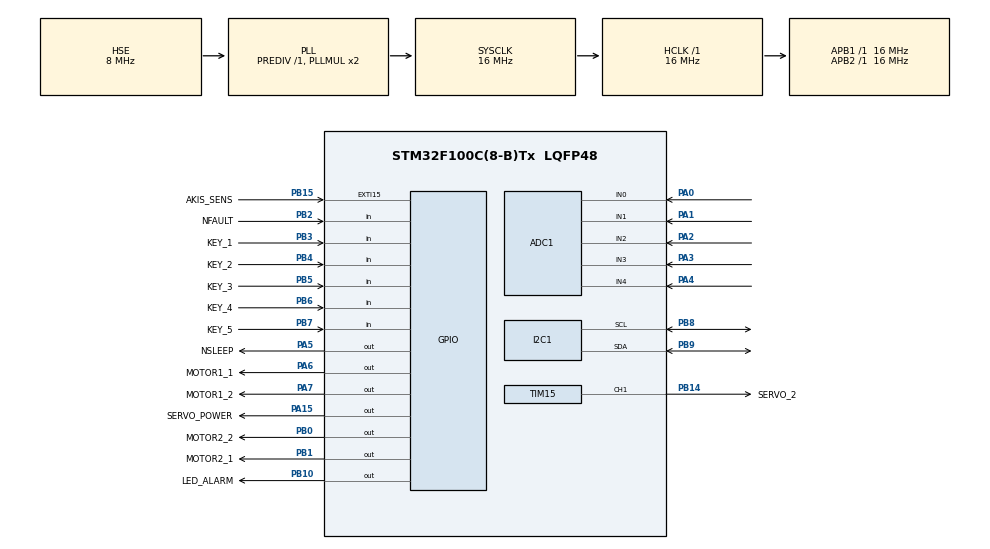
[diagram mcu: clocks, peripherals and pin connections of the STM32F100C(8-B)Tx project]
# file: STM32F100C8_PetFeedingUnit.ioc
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ADC1.Channel-0\#ChannelRegularConversion=ADC_CHANNEL_0
ADC1.Channel-1\#ChannelRegularConversion=ADC_CHANNEL_0
ADC1.Channel-2\#ChannelRegularConversion=ADC_CHANNEL_0
ADC1.Channel-3\#ChannelRegularConversion=ADC_CHANNEL_0
ADC1.Channel-4\#ChannelRegularConversion=ADC_CHANNEL_0
ADC1.NbrOfConversion=5
ADC1.NbrOfConversionFlag=1
ADC1.Rank-0\#ChannelRegularConversion=1
ADC1.Rank-1\#ChannelRegularConversion=2
ADC1.Rank-2\#ChannelRegularConversion=3
ADC1.Rank-3\#ChannelRegularConversion=4
ADC1.Rank-4\#ChannelRegularConversion=5
ADC1.SamplingTime-0\#ChannelRegularConversion=ADC_SAMPLETIME_1CYCLE_5
ADC1.SamplingTime-1\#ChannelRegularConversion=ADC_SAMPLETIME_1CYCLE_5
ADC1.SamplingTime-2\#ChannelRegularConversion=ADC_SAMPLETIME_1CYCLE_5
ADC1.SamplingTime-3\#ChannelRegularConversion=ADC_SAMPLETIME_1CYCLE_5
ADC1.SamplingTime-4\#ChannelRegularConversion=ADC_SAMPLETIME_1CYCLE_5
ADC1.master=1
Dma.ADC1.0.Direction=DMA_PERIPH_TO_MEMORY
Dma.ADC1.0.Instance=DMA1_Channel1
Dma.ADC1.0.MemDataAlignment=DMA_MDATAALIGN_HALFWORD
Dma.ADC1.0.MemInc=DMA_MINC_ENABLE
Dma.ADC1.0.Mode=DMA_NORMAL
Dma.ADC1.0.PeriphDataAlignment=DMA_PDATAALIGN_HALFWORD
Dma.ADC1.0.PeriphInc=DMA_PINC_DISABLE
Dma.ADC1.0.Priority=DMA_PRIORITY_LOW
Dma.Request0=ADC1
Mcu.Family=STM32F1
Mcu.Name=STM32F100C(8-B)Tx
Mcu.Package=LQFP48
NVIC.DMA1_Channel1_IRQn=true\:0\:0\:false\:false\:true\:false\:true
NVIC.EXTI15_10_IRQn=true\:0\:0\:false\:false\:true\:true\:true
NVIC.PriorityGroup=NVIC_PRIORITYGROUP_4
PA0-WKUP.Signal=ADCx_IN0
PA1.Signal=ADCx_IN1
PA13.Mode=Serial_Wire
PA13.Signal=SYS_JTMS-SWDIO
PA14.Mode=Serial_Wire
PA14.Signal=SYS_JTCK-SWCLK
PA15.GPIO_Label=SERVO_POWER
PA15.Signal=GPIO_Output
PA2.Signal=ADCx_IN2
PA3.Signal=ADCx_IN3
PA4.Signal=ADCx_IN4
PA5.GPIO_Label=NSLEEP
PA5.Signal=GPIO_Output
PA6.GPIO_Label=MOTOR1_1
PA6.Signal=GPIO_Output
PA7.GPIO_Label=MOTOR1_2
PA7.Signal=GPIO_Output
PB0.GPIO_Label=MOTOR2_2
PB0.Signal=GPIO_Output
PB1.GPIO_Label=MOTOR2_1
PB1.Signal=GPIO_Output
PB10.GPIO_Label=LED_ALARM
PB10.Signal=GPIO_Output
PB14.GPIO_Label=SERVO_2
PB14.Signal=S_TIM15_CH1
PB15.GPIO_Label=AKIS_SENS
PB15.GPIO_ModeDefaultEXTI=GPIO_MODE_IT_RISING
PB15.GPIO_PuPd=GPIO_PULLDOWN
PB15.Signal=GPXTI15
PB2.GPIO_Label=NFAULT
PB2.Signal=GPIO_Input
PB3.GPIO_Label=KEY_1
PB3.GPIO_PuPd=GPIO_PULLUP
PB3.Signal=GPIO_Input
PB4.GPIO_Label=KEY_2
PB4.GPIO_PuPd=GPIO_PULLUP
PB4.Signal=GPIO_Input
PB5.GPIO_Label=KEY_3
PB5.GPIO_PuPd=GPIO_PULLUP
PB5.Signal=GPIO_Input
PB6.GPIO_Label=KEY_4
PB6.GPIO_PuPd=GPIO_PULLUP
PB6.Signal=GPIO_Input
PB7.GPIO_Label=KEY_5
PB7.GPIO_PuPd=GPIO_PULLUP
PB7.Signal=GPIO_Input
PB8.Mode=I2C
PB8.Signal=I2C1_SCL
PB9.Mode=I2C
PB9.Signal=I2C1_SDA
PC14-OSC32_IN.Mode=LSE-External-Oscillator
PC14-OSC32_IN.Signal=RCC_OSC32_IN
PC15-OSC32_OUT.Mode=LSE-External-Oscillator
PC15-OSC32_OUT.Signal=RCC_OSC32_OUT
PD0-OSC_IN.Mode=HSE-External-Oscillator
PD0-OSC_IN.Signal=RCC_OSC_IN
PD1-OSC_OUT.Mode=HSE-External-Oscillator
PD1-OSC_OUT.Signal=RCC_OSC_OUT
ProjectManager.HeapSize=0x200
ProjectManager.StackSize=0x400
ProjectManager.TargetToolchain=STM32CubeIDE
RCC.AHBFreq_Value=16000000
RCC.APB1Freq_Value=16000000
RCC.APB1TimFreq_Value=16000000
RCC.APB2Freq_Value=16000000
RCC.APB2TimFreq_Value=16000000
RCC.HCLKFreq_Value=16000000
RCC.PLLSource=RCC_PLLSOURCE_HSE
RCC.RTCClockSelection=RCC_RTCCLKSOURCE_LSE
RCC.SYSCLKFreq_VALUE=16000000
RCC.SYSCLKSource=RCC_SYSCLKSOURCE_PLLCLK
RTC.Format=RTC_FORMAT_BIN
RTC.OutPut=RTC_OUTPUTSOURCE_ALARM
SH.ADCx_IN0.0=ADC1_IN0,IN0
SH.ADCx_IN1.0=ADC1_IN1,IN1
SH.ADCx_IN2.0=ADC1_IN2,IN2
SH.ADCx_IN3.0=ADC1_IN3,IN3
SH.ADCx_IN4.0=ADC1_IN4,IN4
SH.S_TIM15_CH1.0=TIM15_CH1,PWM Generation1 CH1
TIM15.Channel-PWM\ Generation1\ CH1=TIM_CHANNEL_1
TIM15.Period=935
TIM15.Prescaler=85
VP_RTC_VS_RTC_Activate.Mode=RTC_Enabled
VP_TIM15_VS_ClockSourceINT.Mode=Internal
board=custom

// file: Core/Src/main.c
/* USER CODE BEGIN Header */
/**
  ******************************************************************************
  * @file           : main.c
  * @brief          : Main program body
  ******************************************************************************
  * @attention
  *
  * <h2><center>&copy; Copyright (c) 2019 STMicroelectronics.
  * All rights reserved.</center></h2>
  *
  * This software component is licensed by ST under BSD 3-Clause license,
  * the "License"; You may not use this file except in compliance with the
  * License. You may obtain a copy of the License at:
  *                        opensource.org/licenses/BSD-3-Clause
  *
  ******************************************************************************
  */
/* USER CODE END Header */

#include "main.h"

/* USER CODE BEGIN Includes */
#include "include_Ap.h"
/* USER CODE END Includes */

ADC_HandleTypeDef hadc1;
DMA_HandleTypeDef hdma_adc1;

I2C_HandleTypeDef hi2c1;

RTC_HandleTypeDef hrtc;

TIM_HandleTypeDef htim15;

void SystemClock_Config(void);
static void MX_GPIO_Init(void);
static void MX_DMA_Init(void);
static void MX_ADC1_Init(void);
static void MX_I2C1_Init(void);
static void MX_RTC_Init(void);
static void MX_TIM15_Init(void);

/* USER CODE BEGIN 0 */
uint16_t deger[5];
uint16_t servoDeger;
uint16_t suSayaci;
/* USER CODE END 0 */

int main(void)
{

  /* MCU Configuration--------------------------------------------------------*/

  /* Reset of all peripherals, Initializes the Flash interface and the Systick. */
  HAL_Init();

  /* Configure the system clock */
  SystemClock_Config();

  /* Initialize all configured peripherals */
  MX_GPIO_Init();
  MX_DMA_Init();
  MX_ADC1_Init();
  MX_I2C1_Init();
  MX_RTC_Init();
  MX_TIM15_Init();
  /* USER CODE BEGIN 2 */
  OLED_Init();
  InitTimer7();
  Build_Menu();
  takvimGeriYukleme();
  alarmGeriYukleme();
  displaySelectKey=GIRIS_EKRANI;
  kayitOnayDurum=false;

  HAL_TIM_PWM_Start(&htim15,TIM_CHANNEL_1);

  char keyYer[8];
  sleepDurum=true;

  /* USER CODE END 2 */

  /* Infinite loop */
  /* USER CODE BEGIN WHILE */
  while (1)
  {
	  displaySelect();
	  pilGoster();
	  OLED_SetCursor(0, 0);
	  sprintf(keyYer, "%4d", deger[0]);
	  OLED_WriteString(keyYer, Font_7x10, White);
	  OLED_SetCursor(0, 10);
	  sprintf(keyYer, "%3d", suSayaci);
	  OLED_WriteString(keyYer, Font_7x10, White);
	  OLED_UpdateScreen();
	  ADC_DMA_degerOkuma();
	  alarmDeneme(T1DEGER);
//	  giveFeed();
	  fault_Durum();
	  sleepMode();

    /* USER CODE END WHILE */

  }
}

void SystemClock_Config(void)
{
  RCC_OscInitTypeDef RCC_OscInitStruct = {0};
  RCC_ClkInitTypeDef RCC_ClkInitStruct = {0};
  RCC_PeriphCLKInitTypeDef PeriphClkInit = {0};

  /** Initializes the CPU, AHB and APB busses clocks
  */
  RCC_OscInitStruct.OscillatorType = RCC_OSCILLATORTYPE_HSE|RCC_OSCILLATORTYPE_LSE;
  RCC_OscInitStruct.HSEState = RCC_HSE_ON;
  RCC_OscInitStruct.HSEPredivValue = RCC_HSE_PREDIV_DIV1;
  RCC_OscInitStruct.LSEState = RCC_LSE_ON;
  RCC_OscInitStruct.PLL.PLLState = RCC_PLL_ON;
  RCC_OscInitStruct.PLL.PLLSource = RCC_PLLSOURCE_HSE;
  RCC_OscInitStruct.PLL.PLLMUL = RCC_PLL_MUL2;
  if (HAL_RCC_OscConfig(&RCC_OscInitStruct) != HAL_OK)
  {
    Error_Handler();
  }
  /** Initializes the CPU, AHB and APB busses clocks
  */
  RCC_ClkInitStruct.ClockType = RCC_CLOCKTYPE_HCLK|RCC_CLOCKTYPE_SYSCLK
                              |RCC_CLOCKTYPE_PCLK1|RCC_CLOCKTYPE_PCLK2;
  RCC_ClkInitStruct.SYSCLKSource = RCC_SYSCLKSOURCE_PLLCLK;
  RCC_ClkInitStruct.AHBCLKDivider = RCC_SYSCLK_DIV1;
  RCC_ClkInitStruct.APB1CLKDivider = RCC_HCLK_DIV1;
  RCC_ClkInitStruct.APB2CLKDivider = RCC_HCLK_DIV1;

  if (HAL_RCC_ClockConfig(&RCC_ClkInitStruct, FLASH_LATENCY_0) != HAL_OK)
  {
    Error_Handler();
  }
  PeriphClkInit.PeriphClockSelection = RCC_PERIPHCLK_RTC|RCC_PERIPHCLK_ADC;
  PeriphClkInit.RTCClockSelection = RCC_RTCCLKSOURCE_LSE;
  PeriphClkInit.AdcClockSelection = RCC_ADCPCLK2_DIV2;
  if (HAL_RCCEx_PeriphCLKConfig(&PeriphClkInit) != HAL_OK)
  {
    Error_Handler();
  }
}

static void MX_ADC1_Init(void)
{

  ADC_ChannelConfTypeDef sConfig = {0};

  /** Common config
  */
  hadc1.Instance = ADC1;
  hadc1.Init.ScanConvMode = ADC_SCAN_ENABLE;
  hadc1.Init.ContinuousConvMode = DISABLE;
  hadc1.Init.DiscontinuousConvMode = DISABLE;
  hadc1.Init.ExternalTrigConv = ADC_SOFTWARE_START;
  hadc1.Init.DataAlign = ADC_DATAALIGN_RIGHT;
  hadc1.Init.NbrOfConversion = 5;
  if (HAL_ADC_Init(&hadc1) != HAL_OK)
  {
    Error_Handler();
  }
  /** Configure Regular Channel
  */
  sConfig.Channel = ADC_CHANNEL_0;
  sConfig.Rank = ADC_REGULAR_RANK_1;
  sConfig.SamplingTime = ADC_SAMPLETIME_1CYCLE_5;
  if (HAL_ADC_ConfigChannel(&hadc1, &sConfig) != HAL_OK)
  {
    Error_Handler();
  }
  /** Configure Regular Channel
  */
  sConfig.Rank = ADC_REGULAR_RANK_2;
  if (HAL_ADC_ConfigChannel(&hadc1, &sConfig) != HAL_OK)
  {
    Error_Handler();
  }
  /** Configure Regular Channel
  */
  sConfig.Rank = ADC_REGULAR_RANK_3;
  if (HAL_ADC_ConfigChannel(&hadc1, &sConfig) != HAL_OK)
  {
    Error_Handler();
  }
  /** Configure Regular Channel
  */
  sConfig.Rank = ADC_REGULAR_RANK_4;
  if (HAL_ADC_ConfigChannel(&hadc1, &sConfig) != HAL_OK)
  {
    Error_Handler();
  }
  /** Configure Regular Channel
  */
  sConfig.Rank = ADC_REGULAR_RANK_5;
  if (HAL_ADC_ConfigChannel(&hadc1, &sConfig) != HAL_OK)
  {
    Error_Handler();
  }

}

static void MX_I2C1_Init(void)
{

  hi2c1.Instance = I2C1;
  hi2c1.Init.ClockSpeed = 100000;
  hi2c1.Init.DutyCycle = I2C_DUTYCYCLE_2;
  hi2c1.Init.OwnAddress1 = 0;
  hi2c1.Init.AddressingMode = I2C_ADDRESSINGMODE_7BIT;
  hi2c1.Init.DualAddressMode = I2C_DUALADDRESS_DISABLE;
  hi2c1.Init.OwnAddress2 = 0;
  hi2c1.Init.GeneralCallMode = I2C_GENERALCALL_DISABLE;
  hi2c1.Init.NoStretchMode = I2C_NOSTRETCH_DISABLE;
  if (HAL_I2C_Init(&hi2c1) != HAL_OK)
  {
    Error_Handler();
  }

}

static void MX_RTC_Init(void)
{

  /** Initialize RTC Only
  */
  hrtc.Instance = RTC;
  hrtc.Init.AsynchPrediv = RTC_AUTO_1_SECOND;
  hrtc.Init.OutPut = RTC_OUTPUTSOURCE_ALARM;
  if (HAL_RTC_Init(&hrtc) != HAL_OK)
  {
    Error_Handler();
  }

}

static void MX_TIM15_Init(void)
{

  TIM_ClockConfigTypeDef sClockSourceConfig = {0};
  TIM_MasterConfigTypeDef sMasterConfig = {0};
  TIM_OC_InitTypeDef sConfigOC = {0};
  TIM_BreakDeadTimeConfigTypeDef sBreakDeadTimeConfig = {0};

  htim15.Instance = TIM15;
  htim15.Init.Prescaler = 85;
  htim15.Init.CounterMode = TIM_COUNTERMODE_UP;
  htim15.Init.Period = 935;
  htim15.Init.ClockDivision = TIM_CLOCKDIVISION_DIV1;
  htim15.Init.RepetitionCounter = 0;
  htim15.Init.AutoReloadPreload = TIM_AUTORELOAD_PRELOAD_DISABLE;
  if (HAL_TIM_Base_Init(&htim15) != HAL_OK)
  {
    Error_Handler();
  }
  sClockSourceConfig.ClockSource = TIM_CLOCKSOURCE_INTERNAL;
  if (HAL_TIM_ConfigClockSource(&htim15, &sClockSourceConfig) != HAL_OK)
  {
    Error_Handler();
  }
  if (HAL_TIM_PWM_Init(&htim15) != HAL_OK)
  {
    Error_Handler();
  }
  sMasterConfig.MasterOutputTrigger = TIM_TRGO_RESET;
  sMasterConfig.MasterSlaveMode = TIM_MASTERSLAVEMODE_DISABLE;
  if (HAL_TIMEx_MasterConfigSynchronization(&htim15, &sMasterConfig) != HAL_OK)
  {
    Error_Handler();
  }
  sConfigOC.OCMode = TIM_OCMODE_PWM1;
  sConfigOC.Pulse = 0;
  sConfigOC.OCPolarity = TIM_OCPOLARITY_HIGH;
  sConfigOC.OCNPolarity = TIM_OCNPOLARITY_HIGH;
  sConfigOC.OCFastMode = TIM_OCFAST_DISABLE;
  sConfigOC.OCIdleState = TIM_OCIDLESTATE_RESET;
  sConfigOC.OCNIdleState = TIM_OCNIDLESTATE_RESET;
  if (HAL_TIM_PWM_ConfigChannel(&htim15, &sConfigOC, TIM_CHANNEL_1) != HAL_OK)
  {
    Error_Handler();
  }
  sBreakDeadTimeConfig.OffStateRunMode = TIM_OSSR_DISABLE;
  sBreakDeadTimeConfig.OffStateIDLEMode = TIM_OSSI_DISABLE;
  sBreakDeadTimeConfig.LockLevel = TIM_LOCKLEVEL_OFF;
  sBreakDeadTimeConfig.DeadTime = 0;
  sBreakDeadTimeConfig.BreakState = TIM_BREAK_DISABLE;
  sBreakDeadTimeConfig.BreakPolarity = TIM_BREAKPOLARITY_HIGH;
  sBreakDeadTimeConfig.AutomaticOutput = TIM_AUTOMATICOUTPUT_DISABLE;
  if (HAL_TIMEx_ConfigBreakDeadTime(&htim15, &sBreakDeadTimeConfig) != HAL_OK)
  {
    Error_Handler();
  }
  HAL_TIM_MspPostInit(&htim15);

}

static void MX_DMA_Init(void)
{

  /* DMA controller clock enable */
  __HAL_RCC_DMA1_CLK_ENABLE();

  /* DMA interrupt init */
  /* DMA1_Channel1_IRQn interrupt configuration */
  HAL_NVIC_SetPriority(DMA1_Channel1_IRQn, 0, 0);
  HAL_NVIC_EnableIRQ(DMA1_Channel1_IRQn);

}

static void MX_GPIO_Init(void)
{
  GPIO_InitTypeDef GPIO_InitStruct = {0};

  /* GPIO Ports Clock Enable */
  __HAL_RCC_GPIOC_CLK_ENABLE();
  __HAL_RCC_GPIOD_CLK_ENABLE();
  __HAL_RCC_GPIOA_CLK_ENABLE();
  __HAL_RCC_GPIOB_CLK_ENABLE();

  /*Configure GPIO pin Output Level */
  HAL_GPIO_WritePin(GPIOA, NSLEEP_Pin|MOTOR1_1_Pin|MOTOR1_2_Pin|SERVO_POWER_Pin, GPIO_PIN_RESET);

  /*Configure GPIO pin Output Level */
  HAL_GPIO_WritePin(GPIOB, MOTOR2_2_Pin|MOTOR2_1_Pin|LED_ALARM_Pin, GPIO_PIN_RESET);

  /*Configure GPIO pins : NSLEEP_Pin MOTOR1_1_Pin MOTOR1_2_Pin SERVO_POWER_Pin */
  GPIO_InitStruct.Pin = NSLEEP_Pin|MOTOR1_1_Pin|MOTOR1_2_Pin|SERVO_POWER_Pin;
  GPIO_InitStruct.Mode = GPIO_MODE_OUTPUT_PP;
  GPIO_InitStruct.Pull = GPIO_NOPULL;
  GPIO_InitStruct.Speed = GPIO_SPEED_FREQ_LOW;
  HAL_GPIO_Init(GPIOA, &GPIO_InitStruct);

  /*Configure GPIO pins : MOTOR2_2_Pin MOTOR2_1_Pin LED_ALARM_Pin */
  GPIO_InitStruct.Pin = MOTOR2_2_Pin|MOTOR2_1_Pin|LED_ALARM_Pin;
  GPIO_InitStruct.Mode = GPIO_MODE_OUTPUT_PP;
  GPIO_InitStruct.Pull = GPIO_NOPULL;
  GPIO_InitStruct.Speed = GPIO_SPEED_FREQ_LOW;
  HAL_GPIO_Init(GPIOB, &GPIO_InitStruct);

  /*Configure GPIO pin : NFAULT_Pin */
  GPIO_InitStruct.Pin = NFAULT_Pin;
  GPIO_InitStruct.Mode = GPIO_MODE_INPUT;
  GPIO_InitStruct.Pull = GPIO_NOPULL;
  HAL_GPIO_Init(NFAULT_GPIO_Port, &GPIO_InitStruct);

  /*Configure GPIO pin : AKIS_SENS_Pin */
  GPIO_InitStruct.Pin = AKIS_SENS_Pin;
  GPIO_InitStruct.Mode = GPIO_MODE_IT_RISING;
  GPIO_InitStruct.Pull = GPIO_PULLDOWN;
  HAL_GPIO_Init(AKIS_SENS_GPIO_Port, &GPIO_InitStruct);

  /*Configure GPIO pins : KEY_1_Pin KEY_2_Pin KEY_3_Pin KEY_4_Pin
                           KEY_5_Pin */
  GPIO_InitStruct.Pin = KEY_1_Pin|KEY_2_Pin|KEY_3_Pin|KEY_4_Pin
                          |KEY_5_Pin;
  GPIO_InitStruct.Mode = GPIO_MODE_INPUT;
  GPIO_InitStruct.Pull = GPIO_PULLUP;
  HAL_GPIO_Init(GPIOB, &GPIO_InitStruct);

  /* EXTI interrupt init*/
  HAL_NVIC_SetPriority(EXTI15_10_IRQn, 0, 0);
  HAL_NVIC_EnableIRQ(EXTI15_10_IRQn);

}

void Error_Handler(void)
{
}

/************************ (C) COPYRIGHT STMicroelectronics *****END OF FILE****/
